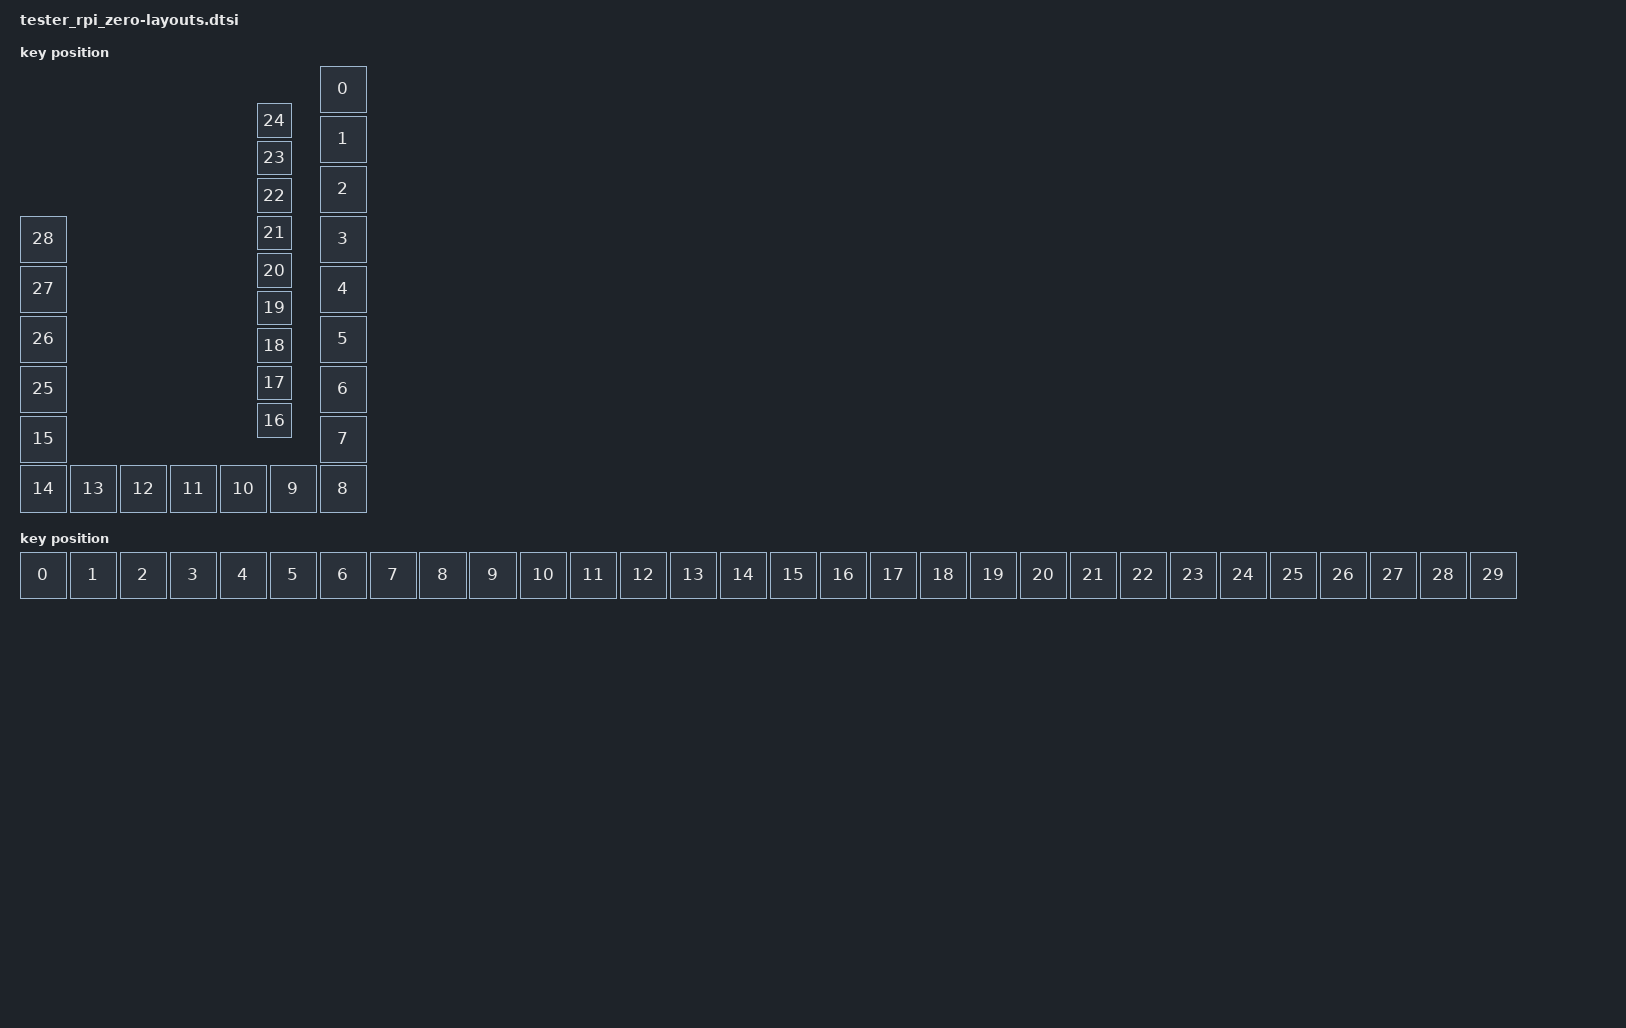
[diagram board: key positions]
/*
 * Copyright (c) 2025 The ZMK Contributors
 *
 * SPDX-License-Identifier: MIT
 */

#include <physical_layouts.dtsi>

/ {
    tester_position_map {
        compatible = "zmk,physical-layout-position-map";
        complete;

        pinout_map: pinout_positions {
            physical-layout = <&physical_layout0>;
            positions = <0 1 2 3 4 5 6 7 8 9 10 11 12 13 14 15 16 17 18 19 20 21 22 23 24 25 26 27 28 29>;
        };
        inline_map: single_row_positions {
            physical-layout = <&physical_layout1>;
            positions = <0 1 2 3 4 5 6 7 8 9 10 11 12 13 14 15 16 17 18 19 20 21 22 23 24 25 26 27 28 29>;
        };
    };

    physical_layout0: physical_layout_0 {
        compatible = "zmk,physical-layout";
        display-name = "Waveshare RP2040-Zero Pinout";

        kscan = <&kscan0>;
        transform = <&matrix_transform0>;
        keys  //                     w   h    x    y     rot    rx    ry
            = <&key_physical_attrs 100 100  600    0       0     0     0>
            , <&key_physical_attrs 100 100  600  100       0     0     0>
            , <&key_physical_attrs 100 100  600  200       0     0     0>
            , <&key_physical_attrs 100 100  600  300       0     0     0>
            , <&key_physical_attrs 100 100  600  400       0     0     0>
            , <&key_physical_attrs 100 100  600  500       0     0     0>
            , <&key_physical_attrs 100 100  600  600       0     0     0>
            , <&key_physical_attrs 100 100  600  700       0     0     0>
            , <&key_physical_attrs 100 100  600  800       0     0     0>
            , <&key_physical_attrs 100 100  500  800       0     0     0>
            , <&key_physical_attrs 100 100  400  800       0     0     0>
            , <&key_physical_attrs 100 100  300  800       0     0     0>
            , <&key_physical_attrs 100 100  200  800       0     0     0>
            , <&key_physical_attrs 100 100  100  800       0     0     0>
            , <&key_physical_attrs 100 100    0  800       0     0     0>
            , <&key_physical_attrs 100 100    0  700       0     0     0>
            , <&key_physical_attrs  75  75  475  675       0     0     0>
            , <&key_physical_attrs  75  75  475  600       0     0     0>
            , <&key_physical_attrs  75  75  475  525       0     0     0>
            , <&key_physical_attrs  75  75  475  450       0     0     0>
            , <&key_physical_attrs  75  75  475  375       0     0     0>
            , <&key_physical_attrs  75  75  475  300       0     0     0>
            , <&key_physical_attrs  75  75  475  225       0     0     0>
            , <&key_physical_attrs  75  75  475  150       0     0     0>
            , <&key_physical_attrs  75  75  475   75       0     0     0>
            , <&key_physical_attrs 100 100    0  600       0     0     0>
            , <&key_physical_attrs 100 100    0  500       0     0     0>
            , <&key_physical_attrs 100 100    0  400       0     0     0>
            , <&key_physical_attrs 100 100    0  300       0     0     0>
            ;
   };

    physical_layout1: physical_layout_1 {
        compatible = "zmk,physical-layout";
        display-name = "Single Row";

        // Single row of eighteen "keys", in ascending "Arduino" order.
        keys  //                     w   h    x    y    rot   rx   ry
            = <&key_physical_attrs 100 100    0    0      0    0    0>
            , <&key_physical_attrs 100 100  100    0      0    0    0>
            , <&key_physical_attrs 100 100  200    0      0    0    0>
            , <&key_physical_attrs 100 100  300    0      0    0    0>
            , <&key_physical_attrs 100 100  400    0      0    0    0>
            , <&key_physical_attrs 100 100  500    0      0    0    0>
            , <&key_physical_attrs 100 100  600    0      0    0    0>
            , <&key_physical_attrs 100 100  700    0      0    0    0>
            , <&key_physical_attrs 100 100  800    0      0    0    0>
            , <&key_physical_attrs 100 100  900    0      0    0    0>
            , <&key_physical_attrs 100 100 1000    0      0    0    0>
            , <&key_physical_attrs 100 100 1100    0      0    0    0>
            , <&key_physical_attrs 100 100 1200    0      0    0    0>
            , <&key_physical_attrs 100 100 1300    0      0    0    0>
            , <&key_physical_attrs 100 100 1400    0      0    0    0>
            , <&key_physical_attrs 100 100 1500    0      0    0    0>
            , <&key_physical_attrs 100 100 1600    0      0    0    0>
            , <&key_physical_attrs 100 100 1700    0      0    0    0>
            , <&key_physical_attrs 100 100 1800    0      0    0    0>
            , <&key_physical_attrs 100 100 1900    0      0    0    0>
            , <&key_physical_attrs 100 100 2000    0      0    0    0>
            , <&key_physical_attrs 100 100 2100    0      0    0    0>
            , <&key_physical_attrs 100 100 2200    0      0    0    0>
            , <&key_physical_attrs 100 100 2300    0      0    0    0>
            , <&key_physical_attrs 100 100 2400    0      0    0    0>
            , <&key_physical_attrs 100 100 2500    0      0    0    0>
            , <&key_physical_attrs 100 100 2600    0      0    0    0>
            , <&key_physical_attrs 100 100 2700    0      0    0    0>
            , <&key_physical_attrs 100 100 2800    0      0    0    0>
            , <&key_physical_attrs 100 100 2900    0      0    0    0>
            ;
    };
};
